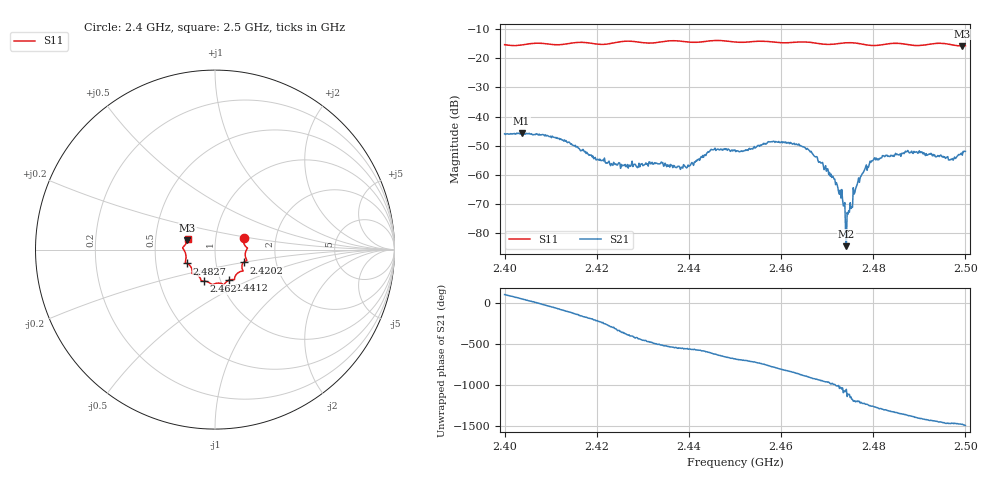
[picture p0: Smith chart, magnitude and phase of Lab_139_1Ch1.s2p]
# Hz S RI R 50
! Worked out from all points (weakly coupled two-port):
!   601 points, 2.4 GHz to 2.5 GHz, reference 50 ohm
!   highest |S21| = -45.67 dB at 2.4037 GHz (marker M1); lowest = -84.5 dB at 2.4742 GHz (marker M2)
!   lowest |S11| = -15.8 dB at 2.4993 GHz (marker M3), VSWR 1.39, Z = 36.5 + j3.82 ohm
!   |S11| at or under -10 dB: start of sweep to end of sweep
!   S12 and S22 are empty: the file has one direction only
!   S11 on the Smith chart (normalised r, x): 2.4 GHz: 1.36, +0.18; 2.4202 GHz: 1.36, -0.20; 2.4412 GHz: 1.10, -0.39; 2.462 GHz: 0.84, -0.30; 2.4827 GHz: 0.72, -0.11; 2.5 GHz: 0.73, +0.09
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2.4e9  0.1588 0.0629  -0.00111 0.00492  0 0  0 0
2.403667e9  0.1669 0.0224  0.00328 0.00404  0 0  0 0
2.410833e9  0.1701 -0.0146  0.00236 -0.00368  0 0  0 0
2.416667e9  0.1771 -0.0609  -0.00242 -0.00104  0 0  0 0
2.420167e9  0.1589 -0.0716  -0.0015 0.00108  0 0  0 0
2.433333e9  0.1116 -0.1508  -0.00126 -0.000892  0 0  0 0
2.441167e9  0.0771 -0.1706  -0.00151 0.00067  0 0  0 0
2.445167e9  0.0515 -0.1934  -0.000571 0.00264  0 0  0 0
2.45e9  0.0285 -0.1875  0.00206 0.00172  0 0  0 0
2.462e9  -0.0602 -0.1753  -0.00156 -0.00324  0 0  0 0
2.466667e9  -0.0789 -0.1683  -0.00232 0.000588  0 0  0 0
2.471667e9  -0.1099 -0.1363  2.59e-05 0.00084  0 0  0 0
2.473333e9  -0.122 -0.1347  0.000267 0.000274  0 0  0 0
2.474167e9  -0.1257 -0.1346  5.3e-05 2.75e-05  0 0  0 0
2.4745e9  -0.1267 -0.1343  0.000182 -0.000104  0 0  0 0
2.478e9  -0.1274 -0.116  -0.000915 -0.000724  0 0  0 0
2.482667e9  -0.156 -0.0772  -0.00163 0.00141  0 0  0 0
2.483333e9  -0.1603 -0.0749  -0.00125 0.00168  0 0  0 0
2.489833e9  -0.1629 -0.0265  0.00194 0.00141  0 0  0 0
2.496833e9  -0.1699 0.0224  0.0016 -0.000911  0 0  0 0
2.499333e9  -0.1542 0.051  0.00171 -0.00134  0 0  0 0
2.5e9  -0.1524 0.0604  0.00154 -0.002  0 0  0 0
